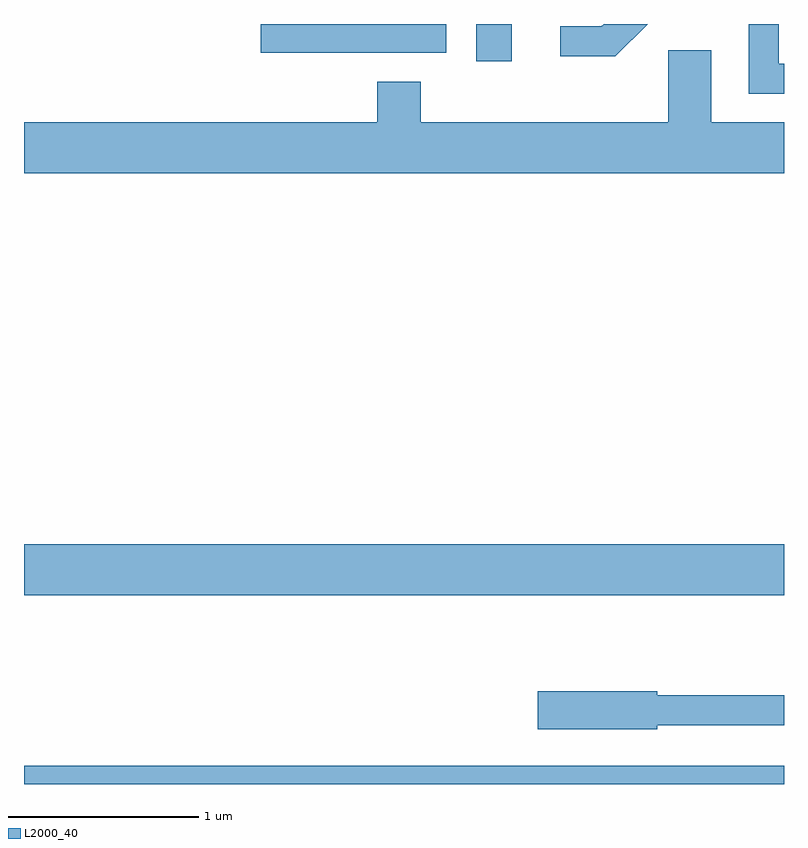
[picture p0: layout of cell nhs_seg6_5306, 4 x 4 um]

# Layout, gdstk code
import gdstk
lib = gdstk.Library(unit=1e-6, precision=1e-09)
def R(c, l, rs):  # rectangles x0, y0, x1, y1
    for r in rs: c.add(gdstk.rectangle(r[:2], r[2:], *l))
def P(c, l, *ps):  # polygons
    for p in ps: c.add(gdstk.Polygon(p, *l))
L2000_40 = (2000, 40)

nhs_seg6_5306 = lib.new_cell('nhs_seg6_5306')
R(nhs_seg6_5306, L2000_40, [(347.611,1540.162,351.611,1540.259), (347.611,1541.156,351.611,1541.424), (349.991,1543.966,350.179,1544.162), (348.856,1544.011,349.834,1544.162)])
P(nhs_seg6_5306, L2000_40, [(351.611,1543.954),(351.584,1543.954),(351.584,1544.162),(351.426,1544.162),(351.426,1543.796),(351.611,1543.796)],
  [(350.893,1544.162),(350.662,1544.162),(350.649,1544.149),(350.433,1544.149),(350.433,1543.991),(350.722,1543.991)],
  [(351.611,1543.644),(351.229,1543.644),(351.229,1544.024),(351.001,1544.024),(351.001,1543.644),(349.699,1543.644),(349.699,1543.859),(349.471,1543.859),(349.471,1543.644),(347.611,1543.644),(347.611,1543.376),(351.611,1543.376)],
  [(350.944,1540.471),(351.611,1540.471),(351.611,1540.629),(350.944,1540.629),(350.944,1540.649),(350.316,1540.649),(350.316,1540.451),(350.944,1540.451)])

lib.write_gds('nhs_seg6_5306.gds')
